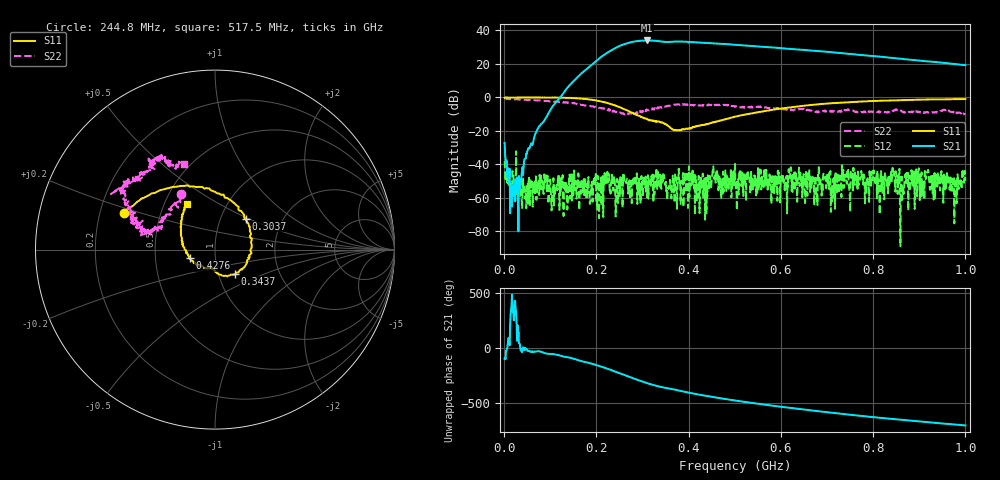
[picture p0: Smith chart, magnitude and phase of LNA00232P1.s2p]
! Created with skrf 1.9.0 (http://scikit-rf.org).
# Hz S RI R 50.0
!freq ReS11 ImS11 ReS21 ImS21 ReS12 ImS12 ReS22 ImS22
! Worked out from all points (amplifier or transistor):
!   1001 points, 1 MHz to 1 GHz, reference 50 ohm
!   highest |S21| = 34.0 dB at 309.7 MHz (marker M1)
!   |S21| within 3 dB of that: 252.6 MHz to 521.1 MHz (268.5 MHz wide, 69.4 % of centre)
!   unconditionally stable (mu >= 1): 152 MHz to 378.6 MHz; 500.6 MHz to 732.3 MHz; 732.3 MHz to end of sweep (the widest 3 of 7)
!   at 166.8 MHz: K = 6.39, MAG = 24.7 dB, |S12| = -57.4 dB
!   at 500.5 MHz: K = 0.94, MSG = 35.6 dB, |S12| = -39.7 dB
!   at 1 GHz: K = 2.88, MAG = 27.1 dB, |S12| = -49.8 dB
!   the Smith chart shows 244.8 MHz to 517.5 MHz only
!   S11 on the Smith chart (normalised r, x): 244.8 MHz: 0.30, +0.18; 303.7 MHz: 1.32, +0.48; 343.7 MHz: 1.20, -0.34; 427.6 MHz: 0.75, -0.07; 517.5 MHz: 0.65, +0.36
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1000000  0.9815 0.00539  -0.00453 -0.0436  -0.00975 0.00797  -0.9573 -0.1391
1.67833e8  -0.2517 -0.8837  -2.494 -4.634  -0.00292 0.00224  -0.4328 0.4056
2.11789e8  -0.6781 -0.3213  -16.51 -2.964  -0.000616 -0.00426  -0.2508 0.4097
2.44756e8  -0.5067 0.2044  -24.6 20.07  0.0019 -0.00317  -0.1897 0.3103
2.6074e8  -0.2946 0.3337  -17.1 35.18  0.000272 -0.00292  -0.2049 0.2333
2.76724e8  -0.0706 0.3485  -0.5641 44.93  0.000661 -0.00023  -0.3116 0.1471
2.89711e8  0.0788 0.2796  15.79 45.65  -0.000201 -0.00255  -0.322 0.1309
3.03697e8  0.1721 0.1725  31.62 38.54  -0.00286 0.00188  -0.3885 0.104
3.09691e8  0.1943 0.1151  37.01 33.95  -0.000944 0.000457  -0.3978 0.1131
3.34666e8  0.1701 -0.0874  46.93 10.24  -0.00446 0.00267  -0.4597 0.2029
3.43657e8  0.1124 -0.1363  46.19 2.976  -0.000338 0.00268  -0.4781 0.1946
3.78622e8  -0.0174 -0.1042  42.17 -19.68  -0.00401 0.00633  -0.5299 0.327
4.06594e8  -0.089 -0.0882  29.31 -34.13  -0.000587 0.00347  -0.4315 0.391
4.27573e8  -0.1415 -0.0468  17.92 -39.4  0.00164 0.00115  -0.379 0.4393
4.6054e8  -0.1843 0.049  0.5176 -40.83  -0.000503 0.00363  -0.3291 0.4952
5.005e8  -0.181 0.1995  -16.03 -34.01  0.00939 -0.00446  -0.2449 0.456
5.17483e8  -0.1573 0.2552  -21.03 -28.97  0.00226 0.00188  -0.1742 0.4767
5.85415e8  0.0438 0.4335  -29.59 -8.366  0.00093 -0.00104  -0.1329 0.455
6.67333e8  0.3746 0.4666  -22.38 10.92  0.00336 -0.00151  -0.0755 0.3898
7.4026e8  0.6282 0.3287  -10.14 17.72  -0.00488 0.000215  -0.0342 0.4076
8.34166e8  0.8078 0.0194  2.754 15.24  -0.00204 -0.000871  0.0131 0.3651
1e9  0.7235 -0.5326  8.769 2.871  -0.000372 0.00323  0.1022 0.2876
